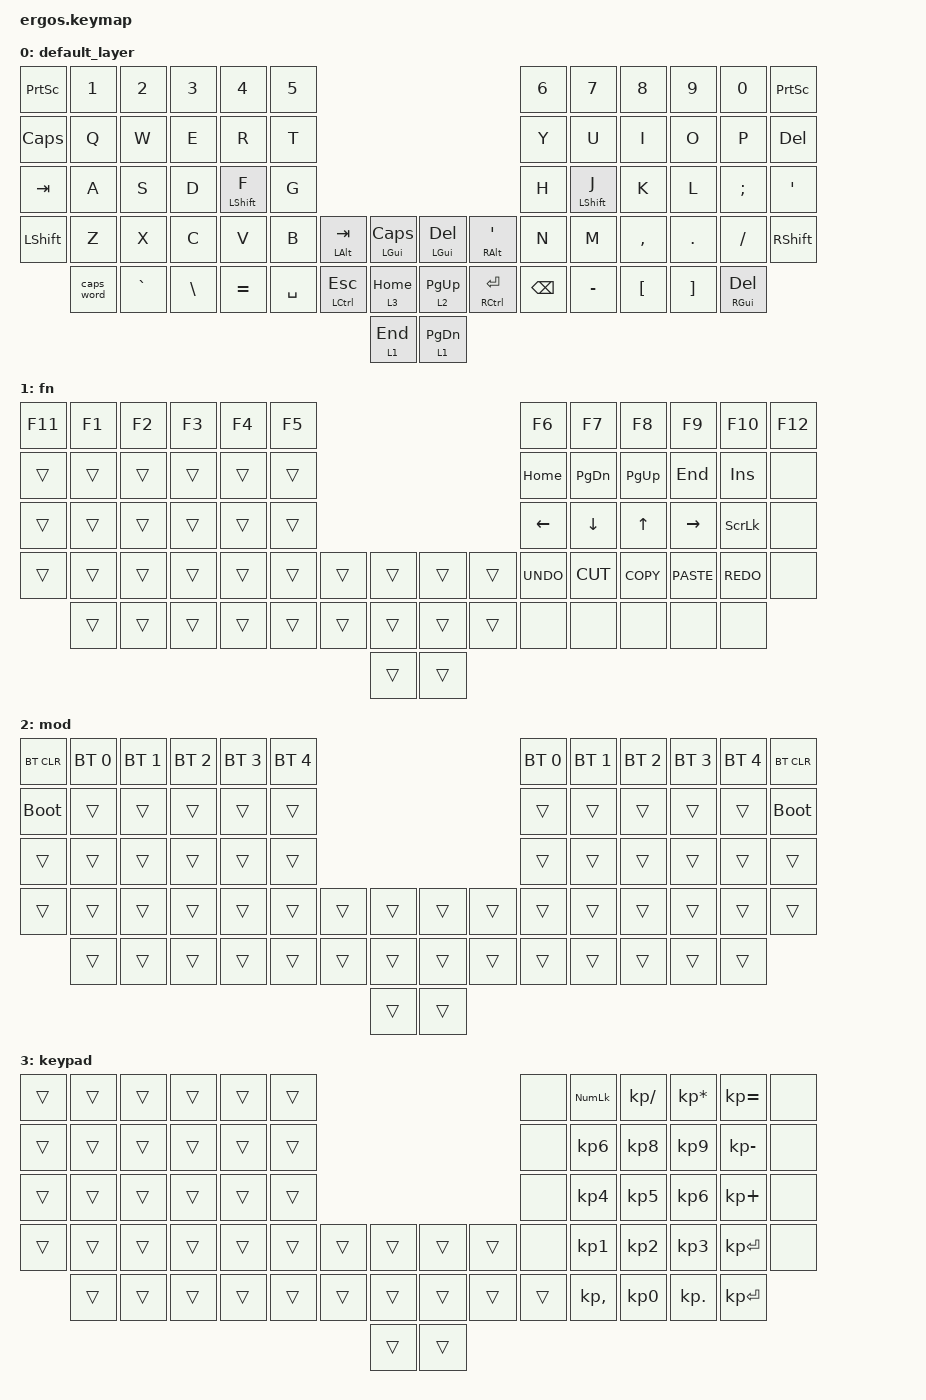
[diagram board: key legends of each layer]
#include <behaviors.dtsi>
#include <dt-bindings/zmk/keys.h>
#include <dt-bindings/zmk/bt.h>

#define STRINGIFY(x) #x
#define EXPAND_AND_STRINGIFY(x) STRINGIFY(x)

#define KEYS_NONE

#define KEYS_LEFT 0 1 2 3 4 5 \
                  12 13 14 15 16 17 \
                  24 25 26 27 28 29 \
                  36 37 38 39 40 41 \
                  52 53 54 55

#define KEYS_RIGHT 6 7 8 9 10 11 \
                   18 19 20 21 22 23 \
                   30 31 32 33 34 35 \
                   46 47 48 49 50 51 \
                   62 63 64 65

#define THUMBS_LEFT 42 43 56 57 58 66

#define THUMBS_RIGHT 44 45 59 60 61 67

#define THUMBS THUMBS_LEFT THUMBS_RIGHT

#define HMT(ID, NAME, TERM, KEYS) \
    ID: mod_tap_##ID  { \
        compatible = "zmk,behavior-hold-tap"; \
        label = NAME; \
        tapping-term-ms = <TERM>; \
        flavor = "tap-preferred"; \
        #binding-cells = <2>; \
        bindings = <&kp>, <&kp>; \
        hold-trigger-key-positions = <KEYS>; \
    };

#define HMH(ID, NAME, TERM, KEYS) \
    ID: layer_tap_##ID { \
        compatible = "zmk,behavior-hold-tap"; \
        label = NAME; \
        tapping-term-ms = <TERM>; \
        flavor = "tap-preferred"; \
        #binding-cells = <2>; \
        bindings = <&mo>, <&kp>; \
        hold-trigger-key-positions = <KEYS>; \
    };

#define HML(ID, NAME, TERM, KEYS) \
    ID: layer_hold_##ID { \
        compatible = "zmk,behavior-hold-tap"; \
        label = NAME; \
        #binding-cells = <2>; \
        quick-tap-ms = <155>; \
        tapping-term-ms = <TERM>; \
        flavor = "hold-preferred"; \
        bindings = <&mo>, <&kp>; \
        hold-trigger-key-positions = <KEYS>; \
    };

&caps_word {
    continue-list = <UNDERSCORE SEMI PIPE AMPS MINUS BACKSPACE DELETE LSHFT RSHFT>;
};

/ {
    behaviors {
        HML(hmo, "LAYER_HOLD", 200, KEYS_NONE)
        HMH(hmlr, "LAYER_TAP_LEFT", 150, KEYS_NONE)
        HMH(hmll, "LAYER_TAP_RIGHT", 150, KEYS_NONE)

        HMT(hmt, "MODS_THUMB", 150, KEYS_NONE)
        HMT(hmr, "MODS_RIGHT", 150, KEYS_LEFT THUMBS_LEFT)
        HMT(hml, "MODS_LEFT",  150, KEYS_RIGHT THUMBS_RIGHT)

        HMT(hmrs, "MODS_RIGHT_SLOW", 180, KEYS_LEFT)
        HMT(hmls, "MODS_LEFT_SLOW",  180, KEYS_RIGHT)

        hmc: homerow_mods_caps {
                compatible = "zmk,behavior-hold-tap";
                label = "HOMEROW_MODS_CAPS";
                tapping-term-ms = <125>;
                flavor = "hold-preferred";
                #binding-cells = <2>;
                bindings = <&kp>, <&caps_word>;
        };
    };

    keymap {
        compatible = "zmk,keymap";

        default_layer {
            bindings = <
                &kp PSCRN  &kp N1      &kp N2    &kp N3   &kp  N4      &kp N5                                                               &kp N6    &kp  N7      &kp N8    &kp N9   &kp N0        &kp PSCRN
                &kp CAPS   &kp Q       &kp W     &kp E    &kp  R       &kp T                                                                &kp Y     &kp  U       &kp I     &kp O    &kp P         &kp DEL
                &kp TAB    &kp A       &kp S     &kp D    &hml LSHFT F &kp G                                                                &kp H     &hmr LSHFT J &kp K     &kp L    &kp SEMI      &kp SQT
                &kp LSHFT  &kp Z       &kp X     &kp C    &kp  V       &kp B     &hmt LALT  TAB &hmt LGUI CAPS &hmt LGUI DEL &hmt RALT  SQT   &kp N     &kp M        &kp COMMA &kp DOT  &kp FSLH      &kp RSHFT
                           &caps_word  &kp GRAVE &kp BSLH &kp  EQUAL   &kp SPACE &hmt LCTRL ESC &hmo 3 HOME    &hmo 2 PG_UP  &hmt RCTRL ENTER &kp BSPC  &kp MINUS    &kp LBKT  &kp RBKT &hmt RGUI DEL
                                                                                                &hmo 1 END     &hmo 1 PG_DN
            >;
        };
        fn {
            bindings = <
                &kp F11    &kp F1     &kp F2     &kp F3     &kp F4     &kp F5                                          &kp F6     &kp F7     &kp F8     &kp F9      &kp F10     &kp F12
                &trans     &trans     &trans     &trans     &trans     &trans                                          &kp HOME   &kp PG_DN  &kp PG_UP  &kp END     &kp INS     &none
                &trans     &trans     &trans     &trans     &trans     &trans                                          &kp LEFT   &kp DOWN   &kp UP     &kp RIGHT   &kp SLCK    &none
                &trans     &trans     &trans     &trans     &trans     &trans    &trans &trans         &trans &trans   &kp K_UNDO &kp K_CUT  &kp K_COPY &kp K_PASTE &kp K_REDO  &none
                           &trans     &trans     &trans     &trans     &trans    &trans &trans         &trans &trans   &none     &none     &none     &none      &none
                                                                                        &trans         &trans
            >;
        };
        mod {
            bindings = <
                &bt BT_CLR  &bt BT_SEL 0 &bt BT_SEL 1 &bt BT_SEL 2 &bt BT_SEL 3 &bt BT_SEL 4                                            &bt BT_SEL 0 &bt BT_SEL 1 &bt BT_SEL 2   &bt BT_SEL 3    &bt BT_SEL 4    &bt BT_CLR
                &bootloader &trans       &trans       &trans       &trans       &trans                                                  &trans       &trans       &trans         &trans          &trans          &bootloader
                &trans      &trans       &trans       &trans       &trans       &trans                                                  &trans       &trans       &trans         &trans          &trans          &trans
                &trans      &trans       &trans       &trans       &trans       &trans        &trans &trans           &trans &trans     &trans       &trans       &trans         &trans          &trans          &trans
                            &trans       &trans       &trans       &trans       &trans        &trans &trans           &trans &trans     &trans       &trans       &trans         &trans          &trans
                                                                                                     &trans           &trans
            >;
        };
        keypad {
            bindings = <
                &trans  &trans   &trans  &trans  &trans  &trans                                               &none   &kp KP_NUM     &kp KP_DIVIDE   &kp KP_MULTIPLY &kp KP_EQUAL   &none
                &trans  &trans   &trans  &trans  &trans  &trans                                               &none   &kp KP_N6      &kp KP_N8       &kp KP_N9       &kp KP_MINUS   &none
                &trans  &trans   &trans  &trans  &trans  &trans                                               &none   &kp KP_N4      &kp KP_N5       &kp KP_N6       &kp KP_PLUS    &none
                &trans  &trans   &trans  &trans  &trans  &trans       &trans &trans         &trans &trans     &none   &kp KP_N1      &kp KP_N2       &kp KP_N3       &kp KP_ENTER   &none
                        &trans   &trans  &trans  &trans  &trans       &trans &trans         &trans &trans     &trans  &kp KP_COMMA   &kp KP_NUMBER_0 &kp KP_DOT      &kp KP_ENTER
                                                                             &trans         &trans
            >;
        };
   };
};
